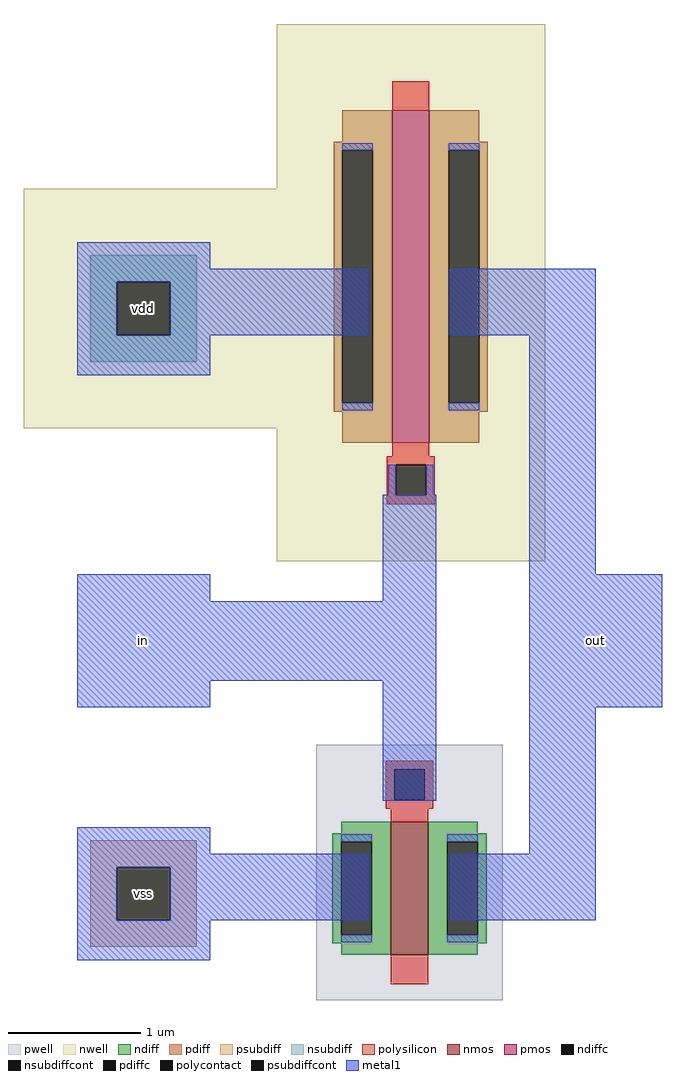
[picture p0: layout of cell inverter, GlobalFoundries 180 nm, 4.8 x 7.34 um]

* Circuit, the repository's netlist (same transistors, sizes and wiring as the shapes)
* NGSPICE file created from inverter.ext - technology: gf180mcuD

.subckt pfet_03v3_H75YCY a_28_n226# a_n116_n179# w_n202_n404# a_n36_n318#
X0 a_28_n226# a_n36_n318# a_n116_n179# w_n202_n404# pfet_03v3 ad=1.06945p pd=5.88u as=1.06945p ps=5.88u w=2.5u l=0.28u
.ends

.subckt nfet_03v3_ZPKZMM a_n36_96# a_28_n124# a_n116_n107# VSUBS
X0 a_28_n124# a_n36_96# a_n116_n107# VSUBS nfet_03v3 ad=0.42895p pd=2.88u as=0.42895p ps=2.88u w=1u l=0.28u
.ends

.subckt inverter in vdd vss out
XM2 out vdd vdd in pfet_03v3_H75YCY
Xnfet_03v3_ZPKZMM_0 in out vss vss nfet_03v3_ZPKZMM
.ends

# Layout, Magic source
magic
tech gf180mcuD
magscale 1 5
<< nwell >>
rect 50 -470 280 -290
<< psubdiff >>
rect 100 -800 180 -780
rect 100 -840 120 -800
rect 160 -840 180 -800
rect 100 -860 180 -840
<< nsubdiff >>
rect 100 -360 180 -340
rect 100 -400 120 -360
rect 160 -400 180 -360
rect 100 -420 180 -400
<< psubdiffcont >>
rect 120 -840 160 -800
<< nsubdiffcont >>
rect 120 -400 160 -360
<< metal1 >>
rect 90 -350 190 -330
rect 90 -360 310 -350
rect 90 -400 120 -360
rect 160 -400 310 -360
rect 370 -400 480 -350
rect 90 -430 190 -400
rect 90 -600 190 -580
rect 320 -600 360 -520
rect 90 -660 360 -600
rect 90 -680 190 -660
rect 320 -750 360 -660
rect 430 -580 480 -400
rect 430 -680 530 -580
rect 90 -790 190 -770
rect 430 -790 480 -680
rect 90 -800 310 -790
rect 90 -840 120 -800
rect 160 -840 310 -800
rect 370 -840 480 -790
rect 90 -870 190 -840
use pfet_03v3_H75YCY  M2
transform 1 0 341 0 1 -368
box -101 -202 101 202
use nfet_03v3_ZPKZMM  nfet_03v3_ZPKZMM_0
transform 1 0 340 0 1 -804
box -70 -96 70 96
<< labels >>
flabel metal1 90 -680 190 -580 0 FreeSans 640 0 0 0 in
port 0 nsew
flabel metal1 90 -870 190 -770 0 FreeSans 640 0 0 0 vss
port 2 nsew
flabel metal1 90 -430 190 -330 0 FreeSans 640 0 0 0 vdd
port 1 nsew
flabel metal1 430 -680 530 -580 0 FreeSans 640 0 0 0 out
port 3 nsew
<< end >>

# cell pfet_03v3_H75YCY: kit device pfet_03v3, w 2.5 l 0.28 m 1 nf 1 diffcov 80 polycov 100 guard 0 glc 1 grc 0 gtc 0 gbc 0 tbcov 100 rlcov 100 topc 0 botc 1 poverlap 0 doverlap 1 lmin 0.28 wmin 0.22 class mosfet full_metal 0 compatible {pfet_03v3 pfet_05v0 pfet_06v0}

# cell nfet_03v3_ZPKZMM: kit device nfet_03v3, w 1.0 l 0.28 m 1 nf 1 diffcov 80 polycov 100 guard 0 glc 1 grc 0 gtc 0 gbc 0 tbcov 100 rlcov 100 topc 1 botc 0 poverlap 0 doverlap 1 lmin 0.28 wmin 0.22 class mosfet full_metal 0 compatible {nfet_03v3 nfet_05v0 nfet_06v0 nfet_06v0_nvt}
